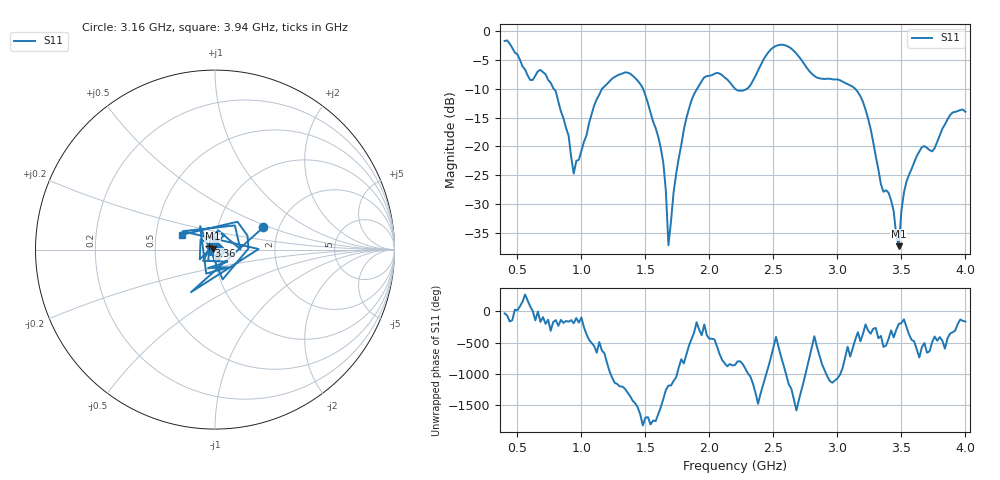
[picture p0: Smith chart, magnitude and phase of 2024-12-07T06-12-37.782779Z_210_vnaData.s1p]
!Created with skrf (http://scikit-rf.org).
# Hz S RI R 50.0
!freq ReS11 ImS11
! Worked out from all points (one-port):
!   181 points, 400 MHz to 4 GHz, reference 50 ohm
!   lowest |S11| = -37.3 dB at 3.48 GHz (marker M1), VSWR 1.03, Z = 48.8 + j0.501 ohm
!   |S11| at or under -10 dB: 784.3 MHz to 1.161 GHz (376.7 MHz wide, 38.7 % of centre); 1.482 GHz to 1.904 GHz (421.9 MHz wide, 24.9 % of centre); 3.139 GHz to end of sweep (the widest 3 of 4)
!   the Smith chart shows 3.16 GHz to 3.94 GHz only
!   S11 on the Smith chart (normalised r, x): 3.16 GHz: 1.66, +0.45; 3.36 GHz: 0.93, +0.04; 3.94 GHz: 0.68, +0.12
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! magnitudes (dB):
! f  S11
! 400 MHz  -1.7
! 600 MHz  -8.5
! 720 MHz  -7.5
! 860 MHz  -15.1
! 940 MHz  -24.7
! 1.12 GHz  -11.8
! 1.3 GHz  -7.5
! 1.48 GHz  -9.9
! 1.6 GHz  -18.3
! 1.64 GHz  -22.8
! 1.68 GHz  -37.2
! 1.76 GHz  -22.1
! 1.86 GHz  -12.0
! 1.96 GHz  -8.0
! 2.2 GHz  -10.0
! 2.3 GHz  -9.9
! 2.5 GHz  -2.8
! 2.66 GHz  -3.4
! 3.1 GHz  -9.4
! 3.16 GHz  -10.6
! 3.24 GHz  -15.2
! 3.36 GHz  -27.9
! 3.42 GHz  -29.4
! 3.48 GHz  -37.3
! 3.52 GHz  -28.0
! 3.56 GHz  -24.9
! 3.94 GHz  -13.9
! 4 GHz  -14.0
